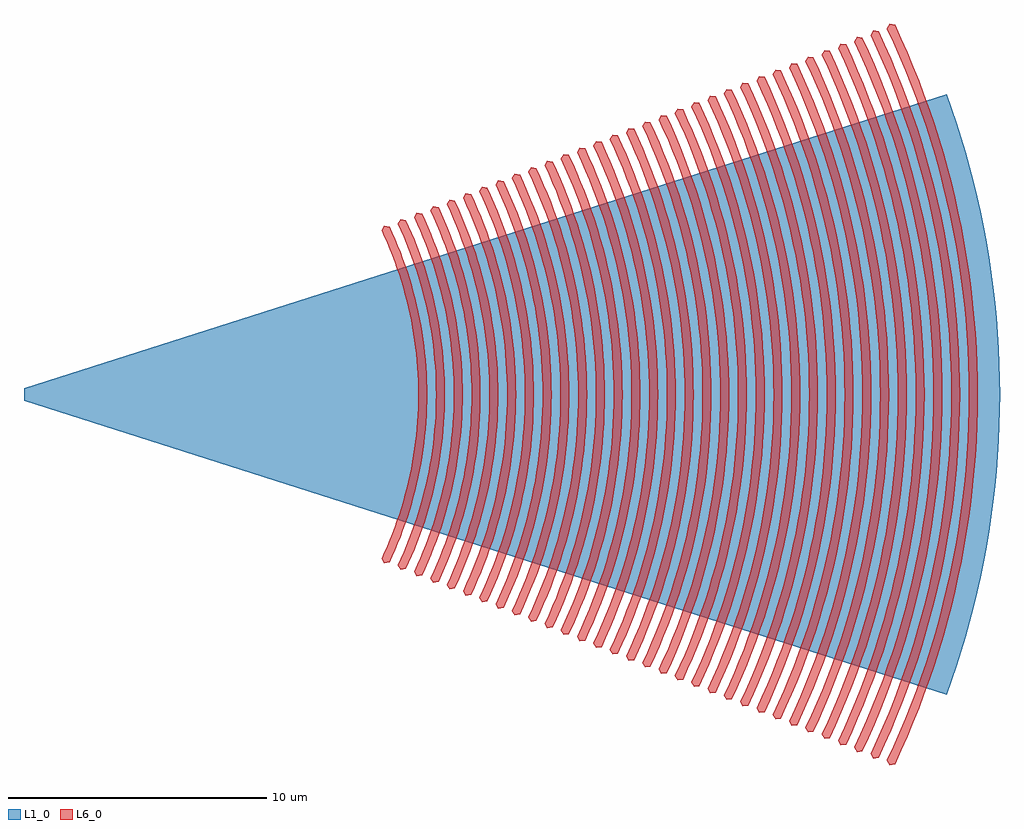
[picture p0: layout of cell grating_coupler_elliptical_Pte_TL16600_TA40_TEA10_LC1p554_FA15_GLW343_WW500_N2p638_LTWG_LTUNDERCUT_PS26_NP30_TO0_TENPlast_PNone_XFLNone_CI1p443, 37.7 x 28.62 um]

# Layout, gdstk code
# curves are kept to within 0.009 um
import gdstk
lib = gdstk.Library(unit=1e-6, precision=1e-09)
def P(c, l, *ps):  # polygons
    for p in ps: c.add(gdstk.Polygon(p, *l))
L1_0 = (1, 0)
L6_0 = (6, 0)

grating_coupler_elliptic = lib.new_cell('grating_coupler_elliptical_Pte_TL16600_TA40_TEA10_LC1p554_FA15_GLW343_WW500_N2p638_LTWG_LTUNDERCUT_PS26_NP30_TO0_TENPlast_PNone_XFLNone_CI1p443')
P(grating_coupler_elliptic, L1_0, [(35.629,-11.599),(0,-0.25),(0,0.25),(35.629,11.599),(36.018,10.48),(36.198,9.915),(36.527,8.777),(36.677,8.204),(36.946,7.051),(37.174,5.889),(37.361,4.72),(37.507,3.545),(37.564,2.955),(37.648,1.774),(37.674,1.183),(37.695,0),(37.674,-1.183),(37.648,-1.774),(37.564,-2.955),(37.507,-3.545),(37.361,-4.72),(37.174,-5.889),(36.946,-7.051),(36.677,-8.204),(36.527,-8.777),(36.198,-9.915),(36.018,-10.48)])
P(grating_coupler_elliptic, L6_0, [(13.916,-6.516),(13.808,-6.34),(14.222,-5.375),(14.486,-4.635),(14.641,-4.134),(14.778,-3.628),(14.95,-2.862),(15.042,-2.346),(15.145,-1.567),(15.207,-0.785),(15.228,0),(15.207,0.785),(15.145,1.567),(15.042,2.346),(14.95,2.862),(14.778,3.628),(14.641,4.134),(14.486,4.635),(14.222,5.375),(13.808,6.34),(13.916,6.516),(14.12,6.484),(14.339,5.996),(14.542,5.499),(14.727,4.995),(14.971,4.23),(15.11,3.712),(15.233,3.19),(15.336,2.664),(15.455,1.87),(15.533,1.07),(15.572,0),(15.533,-1.07),(15.455,-1.87),(15.336,-2.664),(15.233,-3.19),(15.11,-3.712),(14.971,-4.23),(14.727,-4.995),(14.542,-5.499),(14.339,-5.996),(14.12,-6.484)],
  [(14.545,-6.767),(14.437,-6.591),(14.661,-6.093),(14.868,-5.588),(15.143,-4.819),(15.304,-4.298),(15.446,-3.772),(15.625,-2.975),(15.761,-2.17),(15.854,-1.359),(15.893,-0.816),(15.914,0),(15.893,0.816),(15.854,1.359),(15.761,2.17),(15.625,2.975),(15.446,3.772),(15.304,4.298),(15.143,4.819),(14.868,5.588),(14.661,6.093),(14.437,6.591),(14.545,6.767),(14.749,6.735),(14.977,6.227),(15.188,5.712),(15.38,5.189),(15.634,4.394),(15.778,3.856),(15.905,3.314),(16.013,2.767),(16.137,1.942),(16.218,1.111),(16.247,0.556),(16.258,0),(16.247,-0.556),(16.218,-1.111),(16.137,-1.942),(16.013,-2.767),(15.905,-3.314),(15.778,-3.856),(15.634,-4.394),(15.38,-5.189),(15.188,-5.712),(14.977,-6.227),(14.749,-6.735)],
  [(15.175,-7.019),(15.067,-6.843),(15.3,-6.326),(15.514,-5.801),(15.8,-5.003),(16.115,-3.916),(16.3,-3.089),(16.441,-2.253),(16.538,-1.411),(16.578,-0.847),(16.6,0),(16.578,0.847),(16.538,1.411),(16.441,2.253),(16.3,3.089),(16.115,3.916),(15.8,5.003),(15.514,5.801),(15.3,6.326),(15.067,6.843),(15.175,7.019),(15.379,6.987),(15.616,6.46),(15.936,5.655),(16.126,5.109),(16.296,4.558),(16.447,4),(16.636,3.155),(16.737,2.586),(16.818,2.015),(16.902,1.153),(16.932,0.577),(16.944,0),(16.932,-0.577),(16.902,-1.153),(16.818,-2.015),(16.737,-2.586),(16.636,-3.155),(16.447,-4),(16.296,-4.558),(16.126,-5.109),(15.936,-5.655),(15.616,-6.46),(15.379,-6.987)],
  [(15.805,-7.27),(15.697,-7.094),(15.938,-6.558),(16.16,-6.015),(16.456,-5.186),(16.629,-4.626),(16.783,-4.06),(16.975,-3.202),(17.078,-2.625),(17.193,-1.754),(17.263,-0.878),(17.286,0),(17.263,0.878),(17.193,1.754),(17.078,2.625),(16.975,3.202),(16.783,4.06),(16.629,4.626),(16.456,5.186),(16.16,6.015),(15.938,6.558),(15.697,7.094),(15.805,7.27),(16.009,7.238),(16.254,6.692),(16.48,6.139),(16.782,5.294),(16.959,4.722),(17.115,4.144),(17.311,3.268),(17.416,2.679),(17.5,2.087),(17.587,1.194),(17.618,0.597),(17.63,0),(17.618,-0.597),(17.587,-1.194),(17.5,-2.087),(17.416,-2.679),(17.311,-3.268),(17.115,-4.144),(16.959,-4.722),(16.782,-5.294),(16.48,-6.139),(16.254,-6.692),(16.009,-7.238)],
  [(16.434,-7.522),(16.326,-7.346),(16.694,-6.51),(16.913,-5.944),(17.113,-5.371),(17.292,-4.79),(17.451,-4.204),(17.65,-3.316),(17.801,-2.418),(17.905,-1.514),(17.962,-0.606),(17.972,0),(17.962,0.606),(17.905,1.514),(17.801,2.418),(17.65,3.316),(17.451,4.204),(17.292,4.79),(17.113,5.371),(16.913,5.944),(16.694,6.51),(16.326,7.346),(16.434,7.522),(16.638,7.49),(17.012,6.64),(17.235,6.062),(17.439,5.477),(17.622,4.886),(17.783,4.288),(17.986,3.382),(18.094,2.772),(18.181,2.16),(18.271,1.236),(18.304,0.618),(18.316,0),(18.304,-0.618),(18.271,-1.236),(18.181,-2.16),(18.094,-2.772),(17.986,-3.382),(17.783,-4.288),(17.622,-4.886),(17.439,-5.477),(17.235,-6.062),(17.012,-6.64),(16.638,-7.49)],
  [(17.064,-7.773),(16.956,-7.597),(17.336,-6.733),(17.563,-6.147),(17.769,-5.553),(17.954,-4.954),(18.119,-4.348),(18.325,-3.429),(18.481,-2.501),(18.589,-1.566),(18.647,-0.627),(18.658,0),(18.647,0.627),(18.589,1.566),(18.481,2.501),(18.325,3.429),(18.119,4.348),(17.954,4.954),(17.769,5.553),(17.563,6.147),(17.336,6.733),(16.956,7.597),(17.064,7.773),(17.268,7.741),(17.654,6.863),(17.885,6.265),(18.095,5.661),(18.284,5.05),(18.451,4.432),(18.597,3.809),(18.72,3.181),(18.863,2.232),(18.956,1.277),(18.989,0.639),(19.002,0),(18.989,-0.639),(18.956,-1.277),(18.863,-2.232),(18.72,-3.181),(18.597,-3.809),(18.451,-4.432),(18.284,-5.05),(18.095,-5.661),(17.885,-6.265),(17.654,-6.863),(17.268,-7.741)],
  [(17.694,-8.024),(17.586,-7.848),(17.978,-6.956),(18.213,-6.351),(18.426,-5.738),(18.617,-5.118),(18.787,-4.492),(19,-3.543),(19.113,-2.904),(19.241,-1.941),(19.319,-0.971),(19.344,0),(19.319,0.971),(19.241,1.941),(19.113,2.904),(19,3.543),(18.787,4.492),(18.617,5.118),(18.426,5.738),(18.213,6.351),(17.978,6.956),(17.586,7.848),(17.694,8.024),(17.898,7.992),(18.296,7.086),(18.535,6.469),(18.752,5.844),(18.947,5.214),(19.119,4.576),(19.27,3.932),(19.397,3.284),(19.544,2.305),(19.614,1.648),(19.661,0.989),(19.688,0),(19.661,-0.989),(19.614,-1.648),(19.544,-2.305),(19.397,-3.284),(19.27,-3.932),(19.119,-4.576),(18.947,-5.214),(18.752,-5.844),(18.535,-6.469),(18.296,-7.086),(17.898,-7.992)],
  [(18.323,-8.276),(18.215,-8.1),(18.491,-7.488),(18.744,-6.867),(19.083,-5.921),(19.28,-5.282),(19.455,-4.636),(19.675,-3.656),(19.841,-2.667),(19.956,-1.67),(20.019,-0.668),(20.03,0),(20.019,0.668),(19.956,1.67),(19.841,2.667),(19.675,3.656),(19.455,4.636),(19.28,5.282),(19.083,5.921),(18.744,6.867),(18.491,7.488),(18.215,8.1),(18.323,8.276),(18.527,8.244),(18.938,7.308),(19.185,6.672),(19.409,6.029),(19.61,5.378),(19.787,4.72),(19.943,4.056),(20.074,3.387),(20.226,2.377),(20.325,1.36),(20.361,0.68),(20.374,0),(20.361,-0.68),(20.325,-1.36),(20.226,-2.377),(20.074,-3.387),(19.943,-4.056),(19.787,-4.72),(19.61,-5.378),(19.409,-6.029),(19.185,-6.672),(18.938,-7.308),(18.527,-8.244)],
  [(18.953,-8.527),(18.845,-8.351),(19.129,-7.721),(19.39,-7.081),(19.739,-6.106),(19.943,-5.446),(20.123,-4.78),(20.35,-3.77),(20.522,-2.75),(20.64,-1.722),(20.689,-1.034),(20.716,0),(20.689,1.034),(20.64,1.722),(20.522,2.75),(20.35,3.77),(20.123,4.78),(19.943,5.446),(19.739,6.106),(19.39,7.081),(19.129,7.721),(18.845,8.351),(18.953,8.527),(19.157,8.495),(19.58,7.531),(19.834,6.876),(20.065,6.212),(20.273,5.542),(20.455,4.864),(20.616,4.18),(20.751,3.491),(20.907,2.45),(20.982,1.752),(21.031,1.052),(21.06,0),(21.031,-1.052),(20.982,-1.752),(20.907,-2.45),(20.751,-3.491),(20.616,-4.18),(20.455,-4.864),(20.273,-5.542),(20.065,-6.212),(19.834,-6.876),(19.58,-7.531),(19.157,-8.495)],
  [(19.583,-8.779),(19.475,-8.603),(19.905,-7.624),(20.162,-6.961),(20.396,-6.289),(20.605,-5.61),(20.792,-4.924),(21.025,-3.883),(21.202,-2.832),(21.324,-1.774),(21.39,-0.71),(21.402,0),(21.39,0.71),(21.324,1.774),(21.202,2.832),(21.025,3.883),(20.792,4.924),(20.605,5.61),(20.396,6.289),(20.162,6.961),(19.905,7.624),(19.475,8.603),(19.583,8.779),(19.787,8.747),(20.223,7.754),(20.484,7.079),(20.722,6.397),(20.935,5.706),(21.124,5.008),(21.361,3.949),(21.487,3.238),(21.589,2.522),(21.694,1.443),(21.732,0.722),(21.746,0),(21.732,-0.722),(21.694,-1.443),(21.589,-2.522),(21.487,-3.238),(21.361,-3.949),(21.124,-5.008),(20.935,-5.706),(20.722,-6.397),(20.484,-7.079),(20.223,-7.754),(19.787,-8.747)],
  [(20.213,-9.03),(20.105,-8.854),(20.547,-7.847),(20.812,-7.165),(21.052,-6.474),(21.268,-5.774),(21.46,-5.067),(21.7,-3.997),(21.828,-3.277),(21.972,-2.189),(22.059,-1.096),(22.088,0),(22.059,1.096),(21.972,2.189),(21.828,3.277),(21.7,3.997),(21.46,5.067),(21.268,5.774),(21.052,6.474),(20.812,7.165),(20.547,7.847),(20.105,8.854),(20.213,9.03),(20.417,8.998),(20.865,7.977),(21.134,7.283),(21.378,6.58),(21.598,5.87),(21.792,5.151),(22.036,4.063),(22.166,3.331),(22.27,2.595),(22.379,1.485),(22.418,0.743),(22.432,0),(22.418,-0.743),(22.379,-1.485),(22.27,-2.595),(22.166,-3.331),(22.036,-4.063),(21.792,-5.151),(21.598,-5.87),(21.378,-6.58),(21.134,-7.283),(20.865,-7.977),(20.417,-8.998)],
  [(20.842,-9.282),(20.734,-9.106),(21.189,-8.07),(21.462,-7.368),(21.709,-6.657),(22.032,-5.575),(22.298,-4.479),(22.506,-3.37),(22.654,-2.252),(22.744,-1.127),(22.774,0),(22.744,1.127),(22.654,2.252),(22.506,3.37),(22.298,4.479),(22.032,5.575),(21.709,6.657),(21.462,7.368),(21.189,8.07),(20.734,9.106),(20.842,9.282),(21.046,9.25),(21.507,8.2),(21.784,7.486),(22.035,6.765),(22.261,6.034),(22.46,5.295),(22.634,4.551),(22.781,3.801),(22.952,2.667),(23.063,1.526),(23.103,0.763),(23.118,0),(23.103,-0.763),(23.063,-1.526),(22.952,-2.667),(22.781,-3.801),(22.634,-4.551),(22.46,-5.295),(22.261,-6.034),(22.035,-6.765),(21.784,-7.486),(21.507,-8.2),(21.046,-9.25)],
  [(21.472,-9.533),(21.364,-9.357),(21.831,-8.293),(22.242,-7.208),(22.483,-6.472),(22.698,-5.729),(22.971,-4.603),(23.185,-3.463),(23.337,-2.314),(23.43,-1.158),(23.46,0),(23.43,1.158),(23.337,2.314),(23.185,3.463),(22.971,4.603),(22.698,5.729),(22.483,6.472),(22.242,7.208),(21.831,8.293),(21.364,9.357),(21.472,9.533),(21.676,9.501),(22.149,8.423),(22.433,7.69),(22.691,6.947),(22.923,6.198),(23.128,5.439),(23.307,4.675),(23.458,3.904),(23.634,2.74),(23.748,1.568),(23.789,0.784),(23.804,0),(23.789,-0.784),(23.748,-1.568),(23.634,-2.74),(23.458,-3.904),(23.307,-4.675),(23.128,-5.439),(22.923,-6.198),(22.691,-6.947),(22.433,-7.69),(22.149,-8.423),(21.676,-9.501)],
  [(22.102,-9.785),(21.994,-9.609),(22.474,-8.516),(22.895,-7.401),(23.256,-6.266),(23.464,-5.499),(23.644,-4.726),(23.864,-3.556),(24.02,-2.376),(24.115,-1.189),(24.146,0),(24.115,1.189),(24.02,2.376),(23.864,3.556),(23.644,4.726),(23.464,5.499),(23.256,6.266),(22.895,7.401),(22.474,8.516),(21.994,9.609),(22.102,9.785),(22.306,9.753),(22.792,8.646),(23.083,7.893),(23.348,7.131),(23.586,6.362),(23.796,5.583),(23.98,4.798),(24.135,4.007),(24.315,2.812),(24.432,1.609),(24.474,0.805),(24.49,0),(24.474,-0.805),(24.432,-1.609),(24.315,-2.812),(24.135,-4.007),(23.98,-4.798),(23.796,-5.583),(23.586,-6.362),(23.348,-7.131),(23.083,-7.893),(22.792,-8.646),(22.306,-9.753)],
  [(22.731,-10.036),(22.623,-9.86),(22.958,-9.115),(23.267,-8.36),(23.679,-7.209),(24.029,-6.037),(24.317,-4.85),(24.542,-3.649),(24.702,-2.438),(24.8,-1.221),(24.832,0),(24.8,1.221),(24.702,2.438),(24.542,3.649),(24.317,4.85),(24.029,6.037),(23.679,7.209),(23.267,8.36),(22.958,9.115),(22.623,9.86),(22.731,10.036),(22.935,10.004),(23.274,9.251),(23.587,8.484),(23.872,7.707),(24.13,6.922),(24.361,6.127),(24.562,5.325),(24.812,4.111),(24.997,2.885),(25.117,1.651),(25.16,0.826),(25.176,0),(25.16,-0.826),(25.117,-1.651),(24.997,-2.885),(24.812,-4.111),(24.562,-5.325),(24.361,-6.127),(24.13,-6.922),(23.872,-7.707),(23.587,-8.484),(23.274,-9.251),(22.935,-10.004)],
  [(23.361,-10.288),(23.253,-10.112),(23.758,-8.962),(24.201,-7.789),(24.582,-6.594),(24.8,-5.787),(24.99,-4.974),(25.221,-3.742),(25.385,-2.5),(25.485,-1.252),(25.518,0),(25.485,1.252),(25.385,2.5),(25.221,3.742),(24.99,4.974),(24.8,5.787),(24.582,6.594),(24.201,7.789),(23.758,8.962),(23.253,10.112),(23.361,10.288),(23.565,10.256),(23.913,9.483),(24.233,8.697),(24.525,7.901),(24.79,7.096),(25.026,6.281),(25.233,5.459),(25.489,4.214),(25.623,3.377),(25.727,2.536),(25.827,1.27),(25.862,0),(25.827,-1.27),(25.727,-2.536),(25.623,-3.377),(25.489,-4.214),(25.233,-5.459),(25.026,-6.281),(24.79,-7.096),(24.525,-7.901),(24.233,-8.697),(23.913,-9.483),(23.565,-10.256)],
  [(23.991,-10.539),(23.883,-10.363),(24.4,-9.184),(24.855,-7.983),(25.122,-7.168),(25.36,-6.345),(25.662,-5.097),(25.899,-3.835),(26.068,-2.563),(26.17,-1.283),(26.204,0),(26.17,1.283),(26.068,2.563),(25.899,3.835),(25.662,5.097),(25.36,6.345),(25.122,7.168),(24.855,7.983),(24.4,9.184),(23.883,10.363),(23.991,10.539),(24.195,10.507),(24.718,9.314),(25.032,8.504),(25.318,7.683),(25.574,6.854),(25.801,6.015),(25.998,5.169),(26.166,4.317),(26.36,3.03),(26.486,1.734),(26.531,0.867),(26.548,0),(26.531,-0.867),(26.486,-1.734),(26.36,-3.03),(26.166,-4.317),(25.998,-5.169),(25.801,-6.015),(25.574,-6.854),(25.318,-7.683),(25.032,-8.504),(24.718,-9.314),(24.195,-10.507)],
  [(24.62,-10.79),(24.512,-10.614),(25.043,-9.407),(25.508,-8.176),(25.907,-6.922),(26.137,-6.075),(26.335,-5.221),(26.578,-3.928),(26.751,-2.625),(26.855,-1.314),(26.89,0),(26.855,1.314),(26.751,2.625),(26.578,3.928),(26.335,5.221),(26.137,6.075),(25.907,6.922),(25.508,8.176),(25.043,9.407),(24.512,10.614),(24.62,10.79),(24.824,10.758),(25.189,9.948),(25.525,9.124),(25.832,8.288),(26.109,7.444),(26.357,6.589),(26.574,5.727),(26.842,4.421),(26.983,3.543),(27.093,2.661),(27.197,1.332),(27.234,0),(27.197,-1.332),(27.093,-2.661),(26.983,-3.543),(26.842,-4.421),(26.574,-5.727),(26.357,-6.589),(26.109,-7.444),(25.832,-8.288),(25.525,-9.124),(25.189,-9.948),(24.824,-10.758)],
  [(25.25,-11.042),(25.142,-10.866),(25.685,-9.63),(26.01,-8.793),(26.305,-7.945),(26.691,-6.653),(27.008,-5.345),(27.257,-4.021),(27.433,-2.687),(27.541,-1.345),(27.576,0),(27.541,1.345),(27.433,2.687),(27.257,4.021),(27.008,5.345),(26.691,6.653),(26.305,7.945),(26.01,8.793),(25.685,9.63),(25.142,10.866),(25.25,11.042),(25.454,11.01),(25.827,10.181),(26.171,9.337),(26.485,8.482),(26.769,7.618),(27.023,6.743),(27.244,5.861),(27.519,4.524),(27.723,3.175),(27.855,1.817),(27.903,0.909),(27.92,0),(27.903,-0.909),(27.855,-1.817),(27.723,-3.175),(27.519,-4.524),(27.244,-5.861),(27.023,-6.743),(26.769,-7.618),(26.485,-8.482),(26.171,-9.337),(25.827,-10.181),(25.454,-11.01)],
  [(25.88,-11.293),(25.772,-11.117),(26.149,-10.277),(26.497,-9.426),(26.962,-8.127),(27.356,-6.807),(27.681,-5.468),(27.935,-4.114),(28.116,-2.749),(28.226,-1.376),(28.262,0),(28.226,1.376),(28.116,2.749),(27.935,4.114),(27.681,5.468),(27.356,6.807),(26.962,8.127),(26.497,9.426),(26.149,10.277),(25.772,11.117),(25.88,11.293),(26.084,11.261),(26.465,10.413),(26.817,9.55),(27.138,8.676),(27.429,7.791),(27.688,6.897),(27.915,5.995),(28.196,4.627),(28.343,3.708),(28.458,2.785),(28.568,1.394),(28.606,0),(28.568,-1.394),(28.458,-2.785),(28.343,-3.708),(28.196,-4.627),(27.915,-5.995),(27.688,-6.897),(27.429,-7.791),(27.138,-8.676),(26.817,-9.55),(26.465,-10.413),(26.084,-11.261)],
  [(26.509,-11.545),(26.401,-11.369),(26.599,-10.941),(26.969,-10.076),(27.468,-8.757),(27.761,-7.864),(28.022,-6.961),(28.354,-5.592),(28.614,-4.208),(28.799,-2.811),(28.911,-1.407),(28.948,0),(28.911,1.407),(28.799,2.811),(28.614,4.208),(28.354,5.592),(28.022,6.961),(27.761,7.864),(27.468,8.757),(26.969,10.076),(26.599,10.941),(26.401,11.369),(26.509,11.545),(26.713,11.513),(27.104,10.646),(27.463,9.763),(27.792,8.869),(28.089,7.966),(28.354,7.051),(28.586,6.128),(28.873,4.731),(29.023,3.791),(29.141,2.847),(29.253,1.425),(29.292,0),(29.253,-1.425),(29.141,-2.847),(29.023,-3.791),(28.873,-4.731),(28.586,-6.128),(28.354,-7.051),(28.089,-7.966),(27.792,-8.869),(27.463,-9.763),(27.104,-10.646),(26.713,-11.513)],
  [(27.139,-11.796),(27.031,-11.62),(27.612,-10.299),(27.959,-9.403),(28.275,-8.496),(28.687,-7.115),(29.027,-5.716),(29.292,-4.301),(29.364,-3.826),(29.481,-2.874),(29.596,-1.439),(29.634,0),(29.596,1.439),(29.481,2.874),(29.364,3.826),(29.292,4.301),(29.027,5.716),(28.687,7.115),(28.275,8.496),(27.959,9.403),(27.612,10.299),(27.031,11.62),(27.139,11.796),(27.343,11.764),(27.742,10.878),(28.109,9.977),(28.445,9.063),(28.748,8.14),(29.019,7.205),(29.256,6.262),(29.363,5.788),(29.55,4.834),(29.704,3.874),(29.823,2.91),(29.938,1.457),(29.978,0),(29.938,-1.457),(29.823,-2.91),(29.704,-3.874),(29.55,-4.834),(29.363,-5.788),(29.256,-6.262),(29.019,-7.205),(28.748,-8.14),(28.445,-9.063),(28.109,-9.977),(27.742,-10.878),(27.343,-11.764)],
  [(27.769,-12.048),(27.661,-11.872),(28.254,-10.522),(28.774,-9.145),(29.221,-7.742),(29.478,-6.795),(29.7,-5.84),(29.971,-4.394),(30.109,-3.423),(30.164,-2.936),(30.212,-2.448),(30.281,-1.47),(30.32,0),(30.281,1.47),(30.212,2.448),(30.164,2.936),(30.109,3.423),(29.971,4.394),(29.7,5.84),(29.478,6.795),(29.221,7.742),(28.774,9.145),(28.254,10.522),(27.661,11.872),(27.769,12.048),(27.973,12.016),(28.38,11.111),(28.755,10.19),(29.098,9.257),(29.408,8.314),(29.685,7.359),(29.927,6.396),(30.036,5.912),(30.227,4.937),(30.384,3.957),(30.506,2.972),(30.554,2.478),(30.623,1.488),(30.664,0),(30.623,-1.488),(30.554,-2.478),(30.506,-2.972),(30.384,-3.957),(30.227,-4.937),(30.036,-5.912),(29.927,-6.396),(29.685,-7.359),(29.408,-8.314),(29.098,-9.257),(28.755,-10.19),(28.38,-11.111),(27.973,-12.016)],
  [(28.4,-12.299),(28.291,-12.124),(28.896,-10.745),(29.259,-9.81),(29.588,-8.863),(29.74,-8.386),(30.018,-7.423),(30.146,-6.939),(30.373,-5.963),(30.65,-4.487),(30.847,-2.998),(30.896,-2.5),(30.967,-1.501),(30.989,-1.001),(31.006,0),(30.989,1.001),(30.967,1.501),(30.896,2.5),(30.847,2.998),(30.65,4.487),(30.373,5.963),(30.146,6.939),(30.018,7.423),(29.74,8.386),(29.588,8.863),(29.259,9.81),(28.896,10.745),(28.291,12.124),(28.4,12.299),(28.603,12.266),(29.018,11.343),(29.401,10.403),(29.751,9.451),(30.068,8.488),(30.35,7.513),(30.597,6.53),(30.709,6.035),(30.904,5.041),(31.064,4.04),(31.189,3.034),(31.238,2.53),(31.309,1.519),(31.35,0),(31.309,-1.519),(31.238,-2.53),(31.189,-3.034),(31.064,-4.04),(30.904,-5.041),(30.709,-6.035),(30.597,-6.53),(30.35,-7.513),(30.068,-8.488),(29.751,-9.451),(29.401,-10.403),(29.018,-11.343),(28.603,-12.266)],
  [(29.028,-12.551),(28.92,-12.375),(29.136,-11.909),(29.538,-10.968),(29.728,-10.492),(30.081,-9.532),(30.4,-8.56),(30.684,-7.577),(30.814,-7.083),(31.045,-6.087),(31.149,-5.586),(31.328,-4.58),(31.472,-3.568),(31.53,-3.06),(31.652,-1.532),(31.688,-0.511),(31.692,0),(31.688,0.511),(31.652,1.532),(31.53,3.06),(31.472,3.568),(31.328,4.58),(31.149,5.586),(31.045,6.087),(30.814,7.083),(30.684,7.577),(30.4,8.56),(30.081,9.532),(29.728,10.492),(29.538,10.968),(29.136,11.909),(28.92,12.375),(29.028,12.551),(29.232,12.519),(29.657,11.576),(30.048,10.616),(30.405,9.644),(30.728,8.662),(31.016,7.667),(31.268,6.664),(31.581,5.144),(31.744,4.122),(31.872,3.096),(31.994,1.55),(32.036,0),(31.994,-1.55),(31.872,-3.096),(31.744,-4.122),(31.581,-5.144),(31.268,-6.664),(31.016,-7.667),(30.728,-8.662),(30.405,-9.644),(30.048,-10.616),(29.657,-11.576),(29.232,-12.519)],
  [(29.658,-12.802),(29.55,-12.626),(29.979,-11.673),(30.374,-10.706),(30.734,-9.726),(30.901,-9.232),(31.209,-8.234),(31.349,-7.731),(31.482,-7.227),(31.718,-6.211),(31.824,-5.7),(32.007,-4.673),(32.153,-3.64),(32.212,-3.122),(32.305,-2.084),(32.337,-1.563),(32.374,-0.521),(32.378,0),(32.374,0.521),(32.337,1.563),(32.305,2.084),(32.212,3.122),(32.153,3.64),(32.007,4.673),(31.824,5.7),(31.718,6.211),(31.482,7.227),(31.349,7.731),(31.209,8.234),(30.901,9.232),(30.734,9.726),(30.374,10.706),(29.979,11.673),(29.55,12.626),(29.658,12.802),(29.862,12.77),(30.295,11.807),(30.694,10.83),(31.058,9.838),(31.387,8.836),(31.681,7.821),(31.939,6.798),(32.16,5.766),(32.345,4.727),(32.424,4.205),(32.554,3.158),(32.647,2.108),(32.679,1.581),(32.722,0),(32.679,-1.581),(32.647,-2.108),(32.554,-3.158),(32.424,-4.205),(32.345,-4.727),(32.16,-5.766),(31.939,-6.798),(31.681,-7.821),(31.387,-8.836),(31.058,-9.838),(30.694,-10.83),(30.295,-11.807),(29.862,-12.77)],
  [(30.288,-13.054),(30.18,-12.878),(30.617,-11.904),(31.02,-10.919),(31.208,-10.421),(31.558,-9.416),(32.015,-7.885),(32.15,-7.371),(32.391,-6.334),(32.499,-5.813),(32.685,-4.766),(32.835,-3.713),(32.895,-3.185),(32.947,-2.655),(33.022,-1.594),(33.046,-1.063),(33.064,0),(33.046,1.063),(33.022,1.594),(32.947,2.655),(32.895,3.185),(32.835,3.713),(32.685,4.766),(32.499,5.813),(32.391,6.334),(32.15,7.371),(32.015,7.885),(31.558,9.416),(31.208,10.421),(31.02,10.919),(30.617,11.904),(30.18,12.878),(30.288,13.054),(30.492,13.022),(30.933,12.04),(31.34,11.043),(31.711,10.032),(32.047,9.008),(32.347,7.975),(32.609,6.932),(32.727,6.406),(32.934,5.351),(33.104,4.288),(33.237,3.221),(33.289,2.685),(33.364,1.612),(33.388,1.075),(33.408,0),(33.388,-1.075),(33.364,-1.612),(33.289,-2.685),(33.237,-3.221),(33.104,-4.288),(32.934,-5.351),(32.727,-6.406),(32.609,-6.932),(32.347,-7.975),(32.047,-9.008),(31.711,-10.032),(31.34,-11.043),(30.933,-12.04),(30.492,-13.022)],
  [(30.917,-13.305),(30.809,-13.129),(31.038,-12.635),(31.465,-11.636),(31.858,-10.624),(32.04,-10.113),(32.379,-9.081),(32.534,-8.562),(32.818,-7.515),(33.064,-6.458),(33.174,-5.927),(33.364,-4.859),(33.516,-3.785),(33.578,-3.247),(33.674,-2.167),(33.707,-1.625),(33.746,-0.542),(33.75,0),(33.746,0.542),(33.707,1.625),(33.674,2.167),(33.578,3.247),(33.516,3.785),(33.364,4.859),(33.174,5.927),(33.064,6.458),(32.818,7.515),(32.534,8.562),(32.379,9.081),(32.04,10.113),(31.858,10.624),(31.465,11.636),(31.038,12.635),(30.809,13.129),(30.917,13.305),(31.121,13.273),(31.571,12.273),(31.986,11.256),(32.364,10.225),(32.707,9.183),(33.012,8.129),(33.28,7.065),(33.4,6.53),(33.611,5.454),(33.784,4.371),(33.92,3.283),(34.016,2.191),(34.049,1.643),(34.073,1.096),(34.094,0),(34.073,-1.096),(34.049,-1.643),(34.016,-2.191),(33.92,-3.283),(33.784,-4.371),(33.611,-5.454),(33.4,-6.53),(33.28,-7.065),(33.012,-8.129),(32.707,-9.183),(32.364,-10.225),(31.986,-11.256),(31.571,-12.273),(31.121,-13.273)],
  [(31.547,-13.556),(31.439,-13.38),(31.672,-12.877),(32.107,-11.859),(32.312,-11.345),(32.694,-10.307),(33.039,-9.255),(33.197,-8.726),(33.486,-7.658),(33.737,-6.582),(33.849,-6.04),(34.043,-4.952),(34.198,-3.858),(34.26,-3.309),(34.314,-2.759),(34.392,-1.656),(34.432,-0.552),(34.436,0),(34.432,0.552),(34.392,1.656),(34.358,2.208),(34.26,3.309),(34.198,3.858),(34.043,4.952),(33.849,6.04),(33.737,6.582),(33.486,7.658),(33.197,8.726),(33.039,9.255),(32.694,10.307),(32.312,11.345),(32.107,11.859),(31.672,12.877),(31.439,13.38),(31.547,13.556),(31.751,13.524),(32.209,12.505),(32.632,11.469),(33.018,10.419),(33.367,9.357),(33.678,8.283),(33.95,7.199),(34.073,6.654),(34.288,5.557),(34.465,4.454),(34.602,3.345),(34.656,2.789),(34.734,1.674),(34.759,1.116),(34.78,0),(34.759,-1.116),(34.734,-1.674),(34.7,-2.232),(34.602,-3.345),(34.465,-4.454),(34.288,-5.557),(34.073,-6.654),(33.95,-7.199),(33.678,-8.283),(33.367,-9.357),(33.018,-10.419),(32.632,-11.469),(32.209,-12.505),(31.751,-13.524)],
  [(32.177,-13.808),(32.069,-13.632),(32.306,-13.119),(32.749,-12.082),(32.958,-11.558),(33.347,-10.501),(33.527,-9.967),(33.86,-8.89),(34.155,-7.802),(34.41,-6.706),(34.524,-6.154),(34.721,-5.045),(34.805,-4.489),(34.943,-3.371),(34.998,-2.811),(35.078,-1.688),(35.118,-0.562),(35.122,0),(35.118,0.562),(35.078,1.688),(35.043,2.25),(34.943,3.371),(34.805,4.489),(34.721,5.045),(34.524,6.154),(34.41,6.706),(34.155,7.802),(33.86,8.89),(33.527,9.967),(33.347,10.501),(32.958,11.558),(32.749,12.082),(32.306,13.119),(32.069,13.632),(32.177,13.808),(32.381,13.776),(32.848,12.737),(33.278,11.682),(33.671,10.613),(34.026,9.531),(34.343,8.437),(34.621,7.333),(34.746,6.778),(34.965,5.66),(35.145,4.537),(35.285,3.407),(35.34,2.841),(35.42,1.706),(35.445,1.137),(35.466,0),(35.445,-1.137),(35.42,-1.706),(35.385,-2.274),(35.285,-3.407),(35.145,-4.537),(34.965,-5.66),(34.746,-6.778),(34.621,-7.333),(34.343,-8.437),(34.026,-9.531),(33.671,-10.613),(33.278,-11.682),(32.848,-12.737),(32.381,-13.776)],
  [(32.806,-14.059),(32.698,-13.883),(32.94,-13.361),(33.392,-12.305),(33.807,-11.235),(34.184,-10.151),(34.358,-9.603),(34.677,-8.501),(34.823,-7.946),(35.083,-6.829),(35.199,-6.267),(35.4,-5.138),(35.561,-4.003),(35.626,-3.433),(35.682,-2.863),(35.763,-1.719),(35.788,-1.146),(35.808,0),(35.803,0.573),(35.763,1.719),(35.682,2.863),(35.626,3.433),(35.561,4.003),(35.4,5.138),(35.199,6.267),(35.083,6.829),(34.823,7.946),(34.677,8.501),(34.358,9.603),(34.184,10.151),(33.807,11.235),(33.392,12.305),(32.94,13.361),(32.698,13.883),(32.806,14.059),(33.01,14.027),(33.486,12.97),(33.71,12.435),(34.129,11.353),(34.51,10.257),(34.686,9.705),(35.009,8.591),(35.292,7.467),(35.419,6.901),(35.642,5.764),(35.825,4.619),(35.968,3.469),(36.024,2.893),(36.105,1.737),(36.13,1.158),(36.152,0),(36.13,-1.158),(36.105,-1.737),(36.024,-2.893),(35.968,-3.469),(35.825,-4.619),(35.642,-5.764),(35.419,-6.901),(35.292,-7.467),(35.009,-8.591),(34.686,-9.705),(34.51,-10.257),(34.129,-11.353),(33.71,-12.435),(33.486,-12.97),(33.01,-14.027)],
  [(33.436,-14.311),(33.328,-14.135),(33.574,-13.603),(34.034,-12.528),(34.457,-11.438),(34.841,-10.335),(35.185,-9.218),(35.342,-8.655),(35.491,-8.09),(35.755,-6.953),(35.874,-6.381),(36.078,-5.231),(36.242,-4.075),(36.308,-3.495),(36.412,-2.333),(36.448,-1.75),(36.474,-1.167),(36.494,0),(36.474,1.167),(36.448,1.75),(36.412,2.333),(36.308,3.495),(36.242,4.075),(36.078,5.231),(35.874,6.381),(35.755,6.953),(35.491,8.09),(35.342,8.655),(35.185,9.218),(34.841,10.335),(34.457,11.438),(34.034,12.528),(33.574,13.603),(33.328,14.135),(33.436,14.311),(33.64,14.279),(34.124,13.203),(34.352,12.658),(34.779,11.556),(34.978,11),(35.346,9.879),(35.674,8.745),(35.962,7.601),(36.091,7.025),(36.319,5.867),(36.505,4.702),(36.65,3.531),(36.754,2.357),(36.79,1.768),(36.816,1.179),(36.838,0),(36.816,-1.179),(36.79,-1.768),(36.754,-2.357),(36.65,-3.531),(36.505,-4.702),(36.319,-5.867),(36.21,-6.447),(35.962,-7.601),(35.823,-8.174),(35.515,-9.314),(35.167,-10.441),(34.779,-11.556),(34.352,-12.658),(34.124,-13.203),(33.64,-14.279)])

lib.write_gds('grating_coupler_elliptical_Pte_TL16600_TA40_TEA10_LC1p554_FA15_GLW343_WW500_N2p638_LTWG_LTUNDERCUT_PS26_NP30_TO0_TENPlast_PNone_XFLNone_CI1p443.gds')
